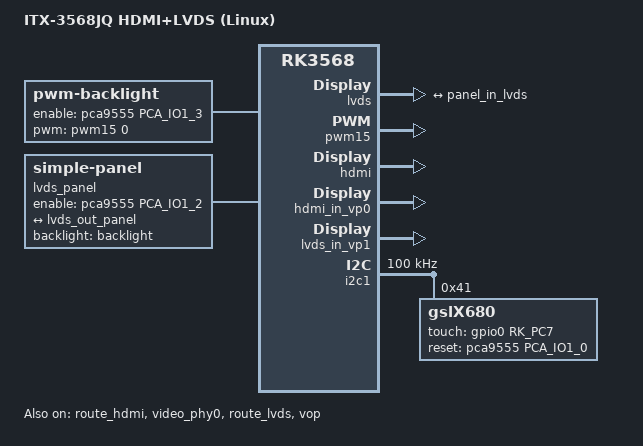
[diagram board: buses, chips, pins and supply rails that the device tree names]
// SPDX-License-Identifier: (GPL-2.0+ OR MIT)
/*
 * Copyright (c) 2020 Rockchip Electronics Co., Ltd.
 *
 */

 /dts-v1/;
#include <dt-bindings/display/media-bus-format.h>
#include "rk3568-firefly-iboard-3568q.dtsi"
#include "rk3568-firefly-iboard-3568q-cam-2ms2m.dtsi"

/ {
    model = "ITX-3568JQ HDMI+LVDS (Linux)";
    compatible = "rockchip,rk3568-firefly-itx-3568jq-lvds", "rockchip,rk3568";

    backlight:backlight {
        status = "okay";
        enable-gpios = <&pca9555 PCA_IO1_3 GPIO_ACTIVE_HIGH>;
        compatible = "pwm-backlight";
        pwms = <&pwm15 0 25000 1>;
        brightness-levels = <
             60  60  60  61  61  61  62  62
             62  63  63  63  64  64  64  65
             65  65  66  66  66  67  67  67
             68  68  68  69  69  69  70  70
             70  71  71  71  72  72  72  73
             73  73  74  74  74  75  75  75
             76  76  76  77  77  77  78  78
             78  79  79  79  80  80  80  81
             81  81  82  82  82  83  83  83
             84  84  84  85  85  85  86  86
             86  87  87  87  88  88  88  89
             89  89  90  91  92  93  94  95
             96  97  98  99 100 101 102 103
            104 105 106 107 108 109 110 111
            112 113 114 115 116 117 118 119
            120 121 122 123 124 125 126 127
            128 129 130 131 132 133 134 135
            136 137 138 139 140 141 142 143
            144 145 146 147 148 149 150 151
            152 153 154 155 156 157 158 159
            160 161 162 163 164 165 166 167
            168 169 170 171 172 173 174 175
            176 177 178 179 180 181 182 183
            184 185 186 187 188 189 190 191
            192 193 194 195 196 197 198 199
            200 201 202 203 204 205 206 207
            208 209 210 211 212 213 214 215
            216 217 218 219 220 221 222 223
            224 225 226 227 228 229 230 231
            232 233 234 235 236 237 238 239
            240 241 242 243 244 245 246 247
            248 249 250 251 252 253 254 255
        >;
        default-brightness-level = <200>;
    };

    lvds_panel: lvds-panel {
        compatible = "simple-panel";
        status = "okay";
        enable-gpios = <&pca9555 PCA_IO1_2 GPIO_ACTIVE_HIGH>;
        backlight = <&backlight>;
        enable-delay-ms = <35>;
        prepare-delay-ms = <6>;
        unprepare-delay-ms = <0>;
        disable-delay-ms = <20>;
        bus-format = <MEDIA_BUS_FMT_RGB888_1X7X4_SPWG>;
        display-timings {
            native-mode = <&timing0>;
            timing0: timing0 {
                clock-frequency = <72000000>;
                hactive = <800>;
                vactive = <1280>;
                hfront-porch = <50>;
                hsync-len = <10>;
                hback-porch = <50>;
                vfront-porch = <10>;
                vsync-len = <18>;
                vback-porch = <10>;
                hsync-active = <0>;
                vsync-active = <0>;
                de-active = <0>;
                pixelclk-active = <0>;
            };
	    };

        ports {
            #address-cells = <1>;
            #size-cells = <0>;

            port@0 {
                reg = <0>;
                //dual-lvds-even-pixels;
                panel_in_lvds: endpoint {
                    remote-endpoint = <&lvds_out_panel>;
                };
            };
        };
    };
};

&lvds {
    status = "okay";
    ports {
        lvds_out:port@1 {
            reg = <1>;

            lvds_out_panel: endpoint {
                remote-endpoint = <&panel_in_lvds>;
            };
        };
    };
};

// lvds backlight pwm
&pwm15 {
    status = "okay";
};

// hdmi
&route_hdmi {
    status = "okay";
    connect = <&vp0_out_hdmi>;
};

&hdmi {
    status = "okay";
};

&hdmi_in_vp0 {
    status = "okay";
};

&hdmi_in_vp1 {
    status = "disabled";
};

//lvds
&dsi0 {
    status = "disabled";
};

&dsi0_in_vp0 {
    status = "disabled";
};

&dsi0_in_vp1 {
    status = "disabled";
};

&video_phy0 {
    status = "okay";
};

&lvds_in_vp1 {
    status = "okay";
};

&lvds_in_vp2 {
    status = "disabled";
};

&route_lvds {
    status = "okay";
    connect = <&vp1_out_lvds>;
};

&vop {
    status = "okay";
    assigned-clocks = <&cru DCLK_VOP0>, <&cru DCLK_VOP1>;
    assigned-clock-parents = <&pmucru PLL_HPLL>, <&cru PLL_VPLL>;
};

//gslx680 tp
&i2c1 {
    status = "okay";
    clock-frequency = <100000>;
    //i2c-scl-rising-time-ns = <800>;
    //i2c-scl-falling-time-ns = <100>;
    gslx680: gslx680@41 {
        status = "okay";
        compatible = "gslX680";
        reg = <0x41>;
        screen_max_x = <800>;
        screen_max_y = <1280>;
        touch-gpio = <&gpio0 RK_PC7 IRQ_TYPE_LEVEL_LOW>;
        reset-gpio = <&pca9555 PCA_IO1_0 GPIO_ACTIVE_HIGH>;
        flip-x = <1>;
        flip-y = <0>;
        swap-xy = <0>;
        gsl,fw = <1>;
    };

    mc3230_1: mc3230sensor@4c {
        compatible = "gs_mc3230";
        reg = <0x4c>;
        type = <SENSOR_TYPE_ACCEL>;
        irq_enable = <0>;
        poll_delay_ms = <30>;
        layout = <4>;
        status = "disabled";
    };
};

/delete-node/ &vcc3v3_lcd0_n;
/delete-node/ &vcc3v3_lcd1_n;
